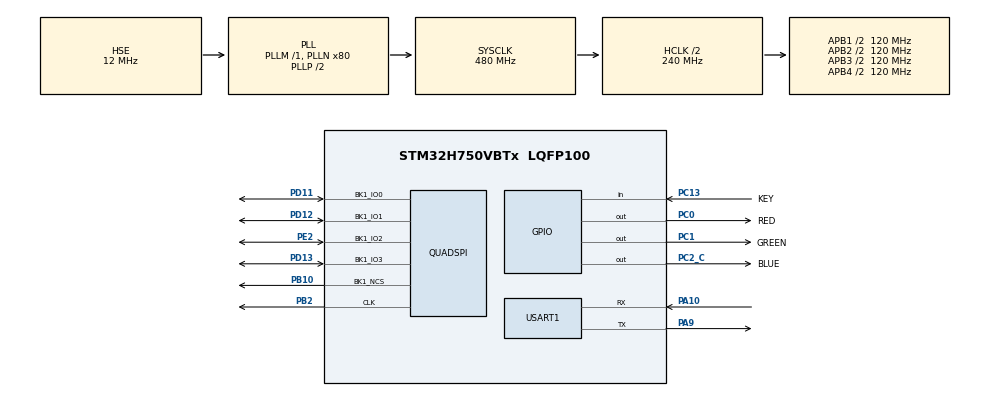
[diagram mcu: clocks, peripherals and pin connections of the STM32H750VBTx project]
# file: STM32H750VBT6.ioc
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CORTEX_M7.CPU_DCache=Enabled
CORTEX_M7.CPU_ICache=Enabled
CORTEX_M7.MPU_Control=__NULL
Mcu.Family=STM32H7
Mcu.Name=STM32H750VBTx
Mcu.Package=LQFP100
NVIC.PriorityGroup=NVIC_PRIORITYGROUP_2
NVIC.USART1_IRQn=true\:0\:0\:false\:false\:true\:true\:true
PA10.Mode=Asynchronous
PA10.Signal=USART1_RX
PA13\ (JTMS/SWDIO).Mode=Serial_Wire
PA13\ (JTMS/SWDIO).Signal=DEBUG_JTMS-SWDIO
PA14\ (JTCK/SWCLK).Mode=Serial_Wire
PA14\ (JTCK/SWCLK).Signal=DEBUG_JTCK-SWCLK
PA9.Mode=Asynchronous
PA9.Signal=USART1_TX
PB10.GPIO_Speed=GPIO_SPEED_FREQ_VERY_HIGH
PB10.Mode=Single Bank 1
PB10.Signal=QUADSPI_BK1_NCS
PB2.GPIO_Speed=GPIO_SPEED_FREQ_VERY_HIGH
PB2.Mode=Single Bank 1
PB2.Signal=QUADSPI_CLK
PC0.GPIO_Label=RED
PC0.GPIO_PuPd=GPIO_PULLUP
PC0.PinState=GPIO_PIN_SET
PC0.Signal=GPIO_Output
PC1.GPIO_Label=GREEN
PC1.GPIO_PuPd=GPIO_PULLUP
PC1.GPIO_Speed=GPIO_SPEED_FREQ_LOW
PC1.PinState=GPIO_PIN_SET
PC1.Signal=GPIO_Output
PC13.GPIO_Label=KEY
PC13.GPIO_PuPd=GPIO_PULLUP
PC13.Signal=GPIO_Input
PC14-OSC32_IN\ (OSC32_IN).Mode=LSE-External-Oscillator
PC14-OSC32_IN\ (OSC32_IN).Signal=RCC_OSC32_IN
PC15-OSC32_OUT\ (OSC32_OUT).Mode=LSE-External-Oscillator
PC15-OSC32_OUT\ (OSC32_OUT).Signal=RCC_OSC32_OUT
PC2_C.GPIO_Label=BLUE
PC2_C.GPIO_PuPd=GPIO_PULLUP
PC2_C.PinState=GPIO_PIN_SET
PC2_C.Signal=GPIO_Output
PD11.GPIO_Speed=GPIO_SPEED_FREQ_VERY_HIGH
PD11.Mode=Single Bank 1
PD11.Signal=QUADSPI_BK1_IO0
PD12.GPIO_Speed=GPIO_SPEED_FREQ_VERY_HIGH
PD12.Mode=Single Bank 1
PD12.Signal=QUADSPI_BK1_IO1
PD13.GPIO_Speed=GPIO_SPEED_FREQ_VERY_HIGH
PD13.Mode=Single Bank 1
PD13.Signal=QUADSPI_BK1_IO3
PE2.GPIO_Speed=GPIO_SPEED_FREQ_VERY_HIGH
PE2.Mode=Single Bank 1
PE2.Signal=QUADSPI_BK1_IO2
PH0-OSC_IN\ (PH0).Mode=HSE-External-Oscillator
PH0-OSC_IN\ (PH0).Signal=RCC_OSC_IN
PH1-OSC_OUT\ (PH1).Mode=HSE-External-Oscillator
PH1-OSC_OUT\ (PH1).Signal=RCC_OSC_OUT
ProjectManager.HeapSize=0x800
ProjectManager.StackSize=0x800
ProjectManager.TargetToolchain=MDK-ARM V5
QUADSPI.ChipSelectHighTime=QSPI_CS_HIGH_TIME_5_CYCLE
QUADSPI.ClockPrescaler=2
QUADSPI.FifoThreshold=4
QUADSPI.FlashSize=24
QUADSPI.SampleShifting=QSPI_SAMPLE_SHIFTING_HALFCYCLE
RCC.ADCFreq_Value=480000000
RCC.APB1Freq_Value=120000000
RCC.APB2Freq_Value=120000000
RCC.APB3Freq_Value=120000000
RCC.APB4Freq_Value=120000000
RCC.CortexFreq_Value=480000000
RCC.D1PPRE=RCC_APB3_DIV2
RCC.D2PPRE1=RCC_APB1_DIV2
RCC.D2PPRE2=RCC_APB2_DIV2
RCC.D3PPRE=RCC_APB4_DIV2
RCC.DIVM1=1
RCC.DIVM2=1
RCC.DIVM3=1
RCC.DIVN1=80
RCC.DIVN2=80
RCC.DIVN3=80
RCC.DIVR2=6
RCC.FLatency=FLASH_LATENCY_4
RCC.HCLKFreq_Value=240000000
RCC.HPRE=RCC_HCLK_DIV2
RCC.HSE_VALUE=12000000
RCC.PLLFRACN=0
RCC.PLLSourceVirtual=RCC_PLLSOURCE_HSE
RCC.PWR_Regulator_Voltage_Scale=PWR_REGULATOR_VOLTAGE_SCALE0
RCC.ProductRev=revV
RCC.QSPICLockSelection=RCC_QSPICLKSOURCE_PLL2
RCC.SYSCLKFreq_VALUE=480000000
RCC.SYSCLKSource=RCC_SYSCLKSOURCE_PLLCLK
RCC.USBFreq_Value=480000000
USART1.VirtualMode-Asynchronous=VM_ASYNC
board=custom

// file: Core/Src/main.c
/* USER CODE BEGIN Header */
/**
  ******************************************************************************
  * @file           : main.c
  * @brief          : Main program body
  ******************************************************************************
  * @attention
  *
  * <h2><center>&copy; Copyright (c) 2021 STMicroelectronics.
  * All rights reserved.</center></h2>
  *
  * This software component is licensed by ST under BSD 3-Clause license,
  * the "License"; You may not use this file except in compliance with the
  * License. You may obtain a copy of the License at:
  *                        opensource.org/licenses/BSD-3-Clause
  *
  ******************************************************************************
  */
/* USER CODE END Header */
#include "main.h"
#include "quadspi.h"
#include "usart.h"
#include "gpio.h"

/* USER CODE BEGIN Includes */
#include "BSP_GPIO.h"
#include "BSP_USART.h"
#include "w25qxx.h"
/* USER CODE END Includes */

void SystemClock_Config(void);

/* USER CODE BEGIN 0 */
	const u8 TEXT_Buffer[]={"STM32H743VIT6 QSPI TEST"};
	#define SIZE sizeof(TEXT_Buffer)
/* USER CODE END 0 */

int main(void)
{
  /* USER CODE BEGIN 1 */
	u8 key;
	u8 key_mode=0;//key_mode=1支持连按 key_mode=0不支持连按
	u8 mode;
	u16 i=0;
	u8 datatemp[SIZE];
	u32 flash_size;
  /* USER CODE END 1 */

  /* Enable I-Cache---------------------------------------------------------*/
  SCB_EnableICache();

  /* Enable D-Cache---------------------------------------------------------*/
  SCB_EnableDCache();

  /* MCU Configuration--------------------------------------------------------*/

  /* Reset of all peripherals, Initializes the Flash interface and the Systick. */
  HAL_Init();

  /* Configure the system clock */
  SystemClock_Config();

  /* Initialize all configured peripherals */
  MX_GPIO_Init();
  MX_USART1_UART_Init();
  MX_QUADSPI_Init();
  /* USER CODE BEGIN 2 */

	NORFLASH_Init();
	while(NORFLASH_ReadID()!=W25Q64)								//检测不到W25Q256
	{
		printf("QSPI Check Failed!\r\n");
		HAL_Delay(100);
		printf("Please Check!\r\n");
		HAL_Delay(100);
		HAL_GPIO_TogglePin(RED_GPIO_Port,RED_Pin);
	}
	printf("QSPI Ready");
	printf("\r\n\r\n");
	flash_size=8*1024*1024;	//FLASH 大小为8M字节

  /* USER CODE END 2 */

  /* Infinite loop */
  /* USER CODE BEGIN WHILE */
  while (1)
  {
		if(key_mode==1)
		{key=1;}

		if(key&&(mode==0)&&(HAL_GPIO_ReadPin(KEY_GPIO_Port,KEY_Pin)==0))
		{
			key=0;
			mode=1;
 			printf("Start Write QSPI....\r\n");
			NORFLASH_Write((u8*)TEXT_Buffer,0,SIZE);		//从倒数第100个地址处开始,写入SIZE长度的数据
			printf("QSPI Write Finished!\r\n");	//提示传送完成
		}
		else if(HAL_GPIO_ReadPin(KEY_GPIO_Port,KEY_Pin)==1)
			key=1;

		if(key&&(mode==1)&&(HAL_GPIO_ReadPin(KEY_GPIO_Port,KEY_Pin)==0))
		{
			key=0;
			mode=0;
 			printf("Start Read QSPI.... \r\n");
			NORFLASH_Read(datatemp,0,SIZE);					//从倒数第100个地址处开始,读出SIZE个字节
			printf("The Data Readed Is:   \r\n");	//提示传送完成
			HAL_UART_Transmit(&huart1,(uint8_t*)datatemp,SIZE,1000);
			printf("\r\n\r\n");
		}
		else if(HAL_GPIO_ReadPin(KEY_GPIO_Port,KEY_Pin)==1)
			key=1;

		i++;
		HAL_Delay(10);
		if(i==100)
		{
			HAL_GPIO_TogglePin(GREEN_GPIO_Port,GREEN_Pin);
			i=0;
		}
    /* USER CODE END WHILE */

  }
}

void SystemClock_Config(void)
{
  RCC_OscInitTypeDef RCC_OscInitStruct = {0};
  RCC_ClkInitTypeDef RCC_ClkInitStruct = {0};

  /** Supply configuration update enable
  */
  HAL_PWREx_ConfigSupply(PWR_LDO_SUPPLY);
  /** Configure the main internal regulator output voltage
  */
  __HAL_PWR_VOLTAGESCALING_CONFIG(PWR_REGULATOR_VOLTAGE_SCALE0);

  while(!__HAL_PWR_GET_FLAG(PWR_FLAG_VOSRDY)) {}
  /** Macro to configure the PLL clock source
  */
  __HAL_RCC_PLL_PLLSOURCE_CONFIG(RCC_PLLSOURCE_HSE);
  /** Initializes the RCC Oscillators according to the specified parameters
  * in the RCC_OscInitTypeDef structure.
  */
  RCC_OscInitStruct.OscillatorType = RCC_OSCILLATORTYPE_HSE;
  RCC_OscInitStruct.HSEState = RCC_HSE_ON;
  RCC_OscInitStruct.PLL.PLLState = RCC_PLL_ON;
  RCC_OscInitStruct.PLL.PLLSource = RCC_PLLSOURCE_HSE;
  RCC_OscInitStruct.PLL.PLLM = 1;
  RCC_OscInitStruct.PLL.PLLN = 80;
  RCC_OscInitStruct.PLL.PLLP = 2;
  RCC_OscInitStruct.PLL.PLLQ = 2;
  RCC_OscInitStruct.PLL.PLLR = 2;
  RCC_OscInitStruct.PLL.PLLRGE = RCC_PLL1VCIRANGE_3;
  RCC_OscInitStruct.PLL.PLLVCOSEL = RCC_PLL1VCOWIDE;
  RCC_OscInitStruct.PLL.PLLFRACN = 0;
  if (HAL_RCC_OscConfig(&RCC_OscInitStruct) != HAL_OK)
  {
    Error_Handler();
  }
  /** Initializes the CPU, AHB and APB buses clocks
  */
  RCC_ClkInitStruct.ClockType = RCC_CLOCKTYPE_HCLK|RCC_CLOCKTYPE_SYSCLK
                              |RCC_CLOCKTYPE_PCLK1|RCC_CLOCKTYPE_PCLK2
                              |RCC_CLOCKTYPE_D3PCLK1|RCC_CLOCKTYPE_D1PCLK1;
  RCC_ClkInitStruct.SYSCLKSource = RCC_SYSCLKSOURCE_PLLCLK;
  RCC_ClkInitStruct.SYSCLKDivider = RCC_SYSCLK_DIV1;
  RCC_ClkInitStruct.AHBCLKDivider = RCC_HCLK_DIV2;
  RCC_ClkInitStruct.APB3CLKDivider = RCC_APB3_DIV2;
  RCC_ClkInitStruct.APB1CLKDivider = RCC_APB1_DIV2;
  RCC_ClkInitStruct.APB2CLKDivider = RCC_APB2_DIV2;
  RCC_ClkInitStruct.APB4CLKDivider = RCC_APB4_DIV2;

  if (HAL_RCC_ClockConfig(&RCC_ClkInitStruct, FLASH_LATENCY_4) != HAL_OK)
  {
    Error_Handler();
  }
}

void Error_Handler(void)
{
  __disable_irq();
  while (1)
  {
  }
}

/************************ (C) COPYRIGHT STMicroelectronics *****END OF FILE****/
